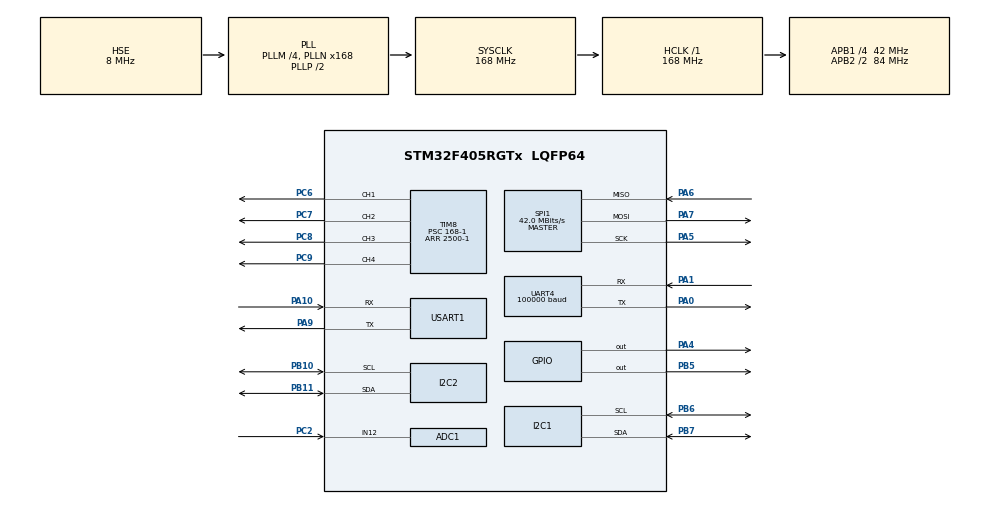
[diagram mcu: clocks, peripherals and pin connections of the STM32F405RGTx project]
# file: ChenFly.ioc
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ADC1.Channel-5\#ChannelRegularConversion=ADC_CHANNEL_12
ADC1.NbrOfConversionFlag=1
ADC1.Rank-5\#ChannelRegularConversion=1
ADC1.SamplingTime-5\#ChannelRegularConversion=ADC_SAMPLETIME_3CYCLES
ADC1.master=1
Dma.Request0=USART1_RX
Dma.Request1=USART1_TX
Dma.Request2=UART4_RX
Dma.Request3=UART4_TX
Dma.UART4_RX.2.Direction=DMA_PERIPH_TO_MEMORY
Dma.UART4_RX.2.FIFOMode=DMA_FIFOMODE_DISABLE
Dma.UART4_RX.2.Instance=DMA1_Stream2
Dma.UART4_RX.2.MemDataAlignment=DMA_MDATAALIGN_BYTE
Dma.UART4_RX.2.MemInc=DMA_MINC_ENABLE
Dma.UART4_RX.2.Mode=DMA_NORMAL
Dma.UART4_RX.2.PeriphDataAlignment=DMA_PDATAALIGN_BYTE
Dma.UART4_RX.2.PeriphInc=DMA_PINC_DISABLE
Dma.UART4_RX.2.Priority=DMA_PRIORITY_MEDIUM
Dma.UART4_TX.3.Direction=DMA_MEMORY_TO_PERIPH
Dma.UART4_TX.3.FIFOMode=DMA_FIFOMODE_DISABLE
Dma.UART4_TX.3.Instance=DMA1_Stream4
Dma.UART4_TX.3.MemDataAlignment=DMA_MDATAALIGN_BYTE
Dma.UART4_TX.3.MemInc=DMA_MINC_ENABLE
Dma.UART4_TX.3.Mode=DMA_NORMAL
Dma.UART4_TX.3.PeriphDataAlignment=DMA_PDATAALIGN_BYTE
Dma.UART4_TX.3.PeriphInc=DMA_PINC_DISABLE
Dma.UART4_TX.3.Priority=DMA_PRIORITY_MEDIUM
Dma.USART1_RX.0.Direction=DMA_PERIPH_TO_MEMORY
Dma.USART1_RX.0.FIFOMode=DMA_FIFOMODE_DISABLE
Dma.USART1_RX.0.Instance=DMA2_Stream2
Dma.USART1_RX.0.MemDataAlignment=DMA_MDATAALIGN_BYTE
Dma.USART1_RX.0.MemInc=DMA_MINC_ENABLE
Dma.USART1_RX.0.Mode=DMA_NORMAL
Dma.USART1_RX.0.PeriphDataAlignment=DMA_PDATAALIGN_BYTE
Dma.USART1_RX.0.PeriphInc=DMA_PINC_DISABLE
Dma.USART1_RX.0.Priority=DMA_PRIORITY_MEDIUM
Dma.USART1_TX.1.Direction=DMA_MEMORY_TO_PERIPH
Dma.USART1_TX.1.FIFOMode=DMA_FIFOMODE_DISABLE
Dma.USART1_TX.1.Instance=DMA2_Stream7
Dma.USART1_TX.1.MemDataAlignment=DMA_MDATAALIGN_BYTE
Dma.USART1_TX.1.MemInc=DMA_MINC_ENABLE
Dma.USART1_TX.1.Mode=DMA_NORMAL
Dma.USART1_TX.1.PeriphDataAlignment=DMA_PDATAALIGN_BYTE
Dma.USART1_TX.1.PeriphInc=DMA_PINC_DISABLE
Dma.USART1_TX.1.Priority=DMA_PRIORITY_MEDIUM
Mcu.Family=STM32F4
Mcu.Name=STM32F405RGTx
Mcu.Package=LQFP64
NVIC.DMA1_Stream2_IRQn=true\:0\:0\:false\:false\:true\:false\:true
NVIC.DMA1_Stream4_IRQn=true\:0\:0\:false\:false\:true\:false\:true
NVIC.DMA2_Stream2_IRQn=true\:0\:0\:false\:false\:true\:false\:true
NVIC.DMA2_Stream7_IRQn=true\:0\:0\:false\:false\:true\:false\:true
NVIC.PriorityGroup=NVIC_PRIORITYGROUP_4
NVIC.UART4_IRQn=true\:0\:0\:false\:false\:true\:true\:true
NVIC.USART1_IRQn=true\:0\:0\:false\:false\:true\:true\:true
PA0-WKUP.GPIO_PuPd=GPIO_NOPULL
PA0-WKUP.Mode=Asynchronous
PA0-WKUP.Signal=UART4_TX
PA1.GPIO_PuPd=GPIO_PULLUP
PA1.Mode=Asynchronous
PA1.Signal=UART4_RX
PA10.GPIO_PuPd=GPIO_NOPULL
PA10.Mode=Asynchronous
PA10.Signal=USART1_RX
PA13.Mode=Serial_Wire
PA13.Signal=SYS_JTMS-SWDIO
PA14.Mode=Serial_Wire
PA14.Signal=SYS_JTCK-SWCLK
PA4.GPIO_PuPd=GPIO_PULLUP
PA4.GPIO_Speed=GPIO_SPEED_FREQ_HIGH
PA4.PinState=GPIO_PIN_SET
PA4.Signal=GPIO_Output
PA5.Mode=Full_Duplex_Master
PA5.Signal=SPI1_SCK
PA6.GPIO_PuPd=GPIO_NOPULL
PA6.Mode=Full_Duplex_Master
PA6.Signal=SPI1_MISO
PA7.GPIO_PuPd=GPIO_NOPULL
PA7.Mode=Full_Duplex_Master
PA7.Signal=SPI1_MOSI
PA9.Mode=Asynchronous
PA9.Signal=USART1_TX
PB10.Mode=I2C
PB10.Signal=I2C2_SCL
PB11.Mode=I2C
PB11.Signal=I2C2_SDA
PB5.Signal=GPIO_Output
PB6.Mode=I2C
PB6.Signal=I2C1_SCL
PB7.Mode=I2C
PB7.Signal=I2C1_SDA
PC2.Signal=ADCx_IN12
PC6.Signal=S_TIM8_CH1
PC7.Signal=S_TIM8_CH2
PC8.Signal=S_TIM8_CH3
PC9.Signal=S_TIM8_CH4
PH0-OSC_IN.Mode=HSE-External-Oscillator
PH0-OSC_IN.Signal=RCC_OSC_IN
PH1-OSC_OUT.Mode=HSE-External-Oscillator
PH1-OSC_OUT.Signal=RCC_OSC_OUT
ProjectManager.HeapSize=0x200
ProjectManager.StackSize=0x400
ProjectManager.TargetToolchain=MDK-ARM V5.32
RCC.48MHZClocksFreq_Value=84000000
RCC.AHBFreq_Value=168000000
RCC.APB1CLKDivider=RCC_HCLK_DIV4
RCC.APB1Freq_Value=42000000
RCC.APB1TimFreq_Value=84000000
RCC.APB2CLKDivider=RCC_HCLK_DIV2
RCC.APB2Freq_Value=84000000
RCC.APB2TimFreq_Value=168000000
RCC.CortexFreq_Value=168000000
RCC.HCLKFreq_Value=168000000
RCC.HSE_VALUE=8000000
RCC.HSI_VALUE=16000000
RCC.LSE_VALUE=32768
RCC.PLLM=4
RCC.PLLN=168
RCC.PLLSourceVirtual=RCC_PLLSOURCE_HSE
RCC.SYSCLKFreq_VALUE=168000000
RCC.SYSCLKSource=RCC_SYSCLKSOURCE_PLLCLK
RCC.VCOOutputFreq_Value=336000000
SH.ADCx_IN12.0=ADC1_IN12,IN12
SH.S_TIM8_CH1.0=TIM8_CH1,PWM Generation1 CH1
SH.S_TIM8_CH2.0=TIM8_CH2,PWM Generation2 CH2
SH.S_TIM8_CH3.0=TIM8_CH3,PWM Generation3 CH3
SH.S_TIM8_CH4.0=TIM8_CH4,PWM Generation4 CH4
SPI1.CLKPhase=SPI_PHASE_2EDGE
SPI1.CLKPolarity=SPI_POLARITY_HIGH
SPI1.CalculateBaudRate=42.0 MBits/s
SPI1.Direction=SPI_DIRECTION_2LINES
SPI1.Mode=SPI_MODE_MASTER
SPI1.VirtualType=VM_MASTER
TIM8.Channel-PWM\ Generation1\ CH1=TIM_CHANNEL_1
TIM8.Channel-PWM\ Generation2\ CH2=TIM_CHANNEL_2
TIM8.Channel-PWM\ Generation3\ CH3=TIM_CHANNEL_3
TIM8.Channel-PWM\ Generation4\ CH4=TIM_CHANNEL_4
TIM8.Period=2500-1
TIM8.Prescaler=168-1
UART4.BaudRate=100000
UART4.Parity=PARITY_EVEN
UART4.StopBits=UART_STOPBITS_2
UART4.VirtualMode=Asynchronous
UART4.WordLength=WORDLENGTH_9B
USART1.VirtualMode=VM_ASYNC
VP_TIM8_VS_ClockSourceINT.Mode=Internal
board=custom

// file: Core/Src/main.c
/* USER CODE BEGIN Header */
/**
  ******************************************************************************
  * @file           : main.c
  * @brief          : Main program body
  ******************************************************************************
  * @attention
  *
  * Copyright (c) 2023 STMicroelectronics.
  * All rights reserved.
  *
  * This software is licensed under terms that can be found in the LICENSE file
  * in the root directory of this software component.
  * If no LICENSE file comes with this software, it is provided AS-IS.
  *
  ******************************************************************************
  */
/* USER CODE END Header */
#include "main.h"
#include "adc.h"
#include "dma.h"
#include "i2c.h"
#include "spi.h"
#include "tim.h"
#include "usart.h"
#include "gpio.h"

/* USER CODE BEGIN Includes */
#include "scheduler.h"
#include "motor.h"
#include "icm20602.h"
#include "flightcontrol.h"
#include "string.h"
/* USER CODE END Includes */

void SystemClock_Config(void);

/* USER CODE BEGIN 0 */
#define BUFF_SIZE1 128
uint8_t rx_data1[BUFF_SIZE1] = {0x00};
#define BUFF_SIZE4 128
uint8_t rx_data4[BUFF_SIZE4] = {0x00};

extern DMA_HandleTypeDef hdma_usart1_rx;

extern uint16_t motorA_speed;
extern uint16_t motorB_speed;
extern uint16_t motorC_speed;
extern uint16_t motorD_speed;
extern uint8_t sbus_original_data[25];

extern float roll_P, roll_I, roll_D;
extern float pitch_P, pitch_I, pitch_D;
extern float yaw_P, yaw_I, yaw_D;
uint8_t send_pid[23] = {0xFE, 0xEF, 0x17, 0x83, 0x00, 0x00, 0x00, 0x00, 0x00, 0x00, 0x00, 0x00, 0x00, 0x00, 0x00, 0x00, 0x00, 0x00, 0x00, 0x00, 0x00, 0x00, 0x00};
/* USER CODE END 0 */

int main(void)
{

  /* MCU Configuration--------------------------------------------------------*/

  /* Reset of all peripherals, Initializes the Flash interface and the Systick. */
  HAL_Init();

  /* Configure the system clock */
  SystemClock_Config();

  /* Initialize all configured peripherals */
  MX_GPIO_Init();
  MX_DMA_Init();
  MX_USART1_UART_Init();
  MX_ADC1_Init();
  MX_UART4_Init();
  MX_TIM8_Init();
  MX_SPI1_Init();
  MX_I2C1_Init();
  MX_I2C2_Init();
  /* USER CODE BEGIN 2 */
  HAL_UARTEx_ReceiveToIdle_DMA(&huart1, rx_data1, BUFF_SIZE1);
  HAL_UARTEx_ReceiveToIdle_DMA(&huart4, rx_data4, BUFF_SIZE4);
  Scheduler_init();
  motor_init();
  icm20602_init_spi();
  gyroOffsetInit();
  init_flightcontrol();
  /* USER CODE END 2 */

  /* Infinite loop */
  /* USER CODE BEGIN WHILE */
  while (1)
  {
	  Scheduler_run();
    /* USER CODE END WHILE */

  }
}

void SystemClock_Config(void)
{
  RCC_OscInitTypeDef RCC_OscInitStruct = {0};
  RCC_ClkInitTypeDef RCC_ClkInitStruct = {0};

  /** Configure the main internal regulator output voltage
  */
  __HAL_RCC_PWR_CLK_ENABLE();
  __HAL_PWR_VOLTAGESCALING_CONFIG(PWR_REGULATOR_VOLTAGE_SCALE1);
  /** Initializes the RCC Oscillators according to the specified parameters
  * in the RCC_OscInitTypeDef structure.
  */
  RCC_OscInitStruct.OscillatorType = RCC_OSCILLATORTYPE_HSE;
  RCC_OscInitStruct.HSEState = RCC_HSE_ON;
  RCC_OscInitStruct.PLL.PLLState = RCC_PLL_ON;
  RCC_OscInitStruct.PLL.PLLSource = RCC_PLLSOURCE_HSE;
  RCC_OscInitStruct.PLL.PLLM = 4;
  RCC_OscInitStruct.PLL.PLLN = 168;
  RCC_OscInitStruct.PLL.PLLP = RCC_PLLP_DIV2;
  RCC_OscInitStruct.PLL.PLLQ = 4;
  if (HAL_RCC_OscConfig(&RCC_OscInitStruct) != HAL_OK)
  {
    Error_Handler();
  }
  /** Initializes the CPU, AHB and APB buses clocks
  */
  RCC_ClkInitStruct.ClockType = RCC_CLOCKTYPE_HCLK|RCC_CLOCKTYPE_SYSCLK
                              |RCC_CLOCKTYPE_PCLK1|RCC_CLOCKTYPE_PCLK2;
  RCC_ClkInitStruct.SYSCLKSource = RCC_SYSCLKSOURCE_PLLCLK;
  RCC_ClkInitStruct.AHBCLKDivider = RCC_SYSCLK_DIV1;
  RCC_ClkInitStruct.APB1CLKDivider = RCC_HCLK_DIV4;
  RCC_ClkInitStruct.APB2CLKDivider = RCC_HCLK_DIV2;

  if (HAL_RCC_ClockConfig(&RCC_ClkInitStruct, FLASH_LATENCY_5) != HAL_OK)
  {
    Error_Handler();
  }
}

/* USER CODE BEGIN 4 */
void HAL_UARTEx_RxEventCallback(UART_HandleTypeDef * huart, uint16_t Size)
{
    if(huart->Instance == USART1)
    {
		HAL_UART_DMAStop(huart);
        if (Size <= BUFF_SIZE1)
        {
			if(rx_data1[0] == 0xFE && rx_data1[1] == 0xEF && rx_data1[3] == 0x01)
			{
				motorA_speed = 1000+10*rx_data1[4];
				motorB_speed = 1000+10*rx_data1[5];
				motorC_speed = 1000+10*rx_data1[6];
				motorD_speed = 1000+10*rx_data1[7];
			}
			else if(rx_data1[0] == 0xFE && rx_data1[1] == 0xEF && rx_data1[3] == 0x02)
			{
				uint16_t temp;
				temp = (uint16_t)(roll_P*1000.0f);
				memcpy(send_pid+4, &temp, 2);
				temp = (uint16_t)(roll_I*1000.0f);
				memcpy(send_pid+6, &temp, 2);
				temp = (uint16_t)(roll_D*1000.0f);
				memcpy(send_pid+8, &temp, 2);
				temp = (uint16_t)(pitch_P*1000.0f);
				memcpy(send_pid+10, &temp, 2);
				temp = (uint16_t)(pitch_I*1000.0f);
				memcpy(send_pid+12, &temp, 2);
				temp = (uint16_t)(pitch_D*1000.0f);
				memcpy(send_pid+14, &temp, 2);
				temp = (uint16_t)(yaw_P*1000.0f);
				memcpy(send_pid+16, &temp, 2);
				temp = (uint16_t)(yaw_I*1000.0f);
				memcpy(send_pid+18, &temp, 2);
				temp = (uint16_t)(yaw_D*1000.0f);
				memcpy(send_pid+20, &temp, 2);
				HAL_UART_Transmit_DMA(&huart1, send_pid, 23);
			}
			else if(rx_data1[0] == 0xFE && rx_data1[1] == 0xEF && rx_data1[3] == 0x03)
			{
				uint16_t temp;
				memcpy(&temp, rx_data1+4, 2);
				roll_P = ((float)temp)/1000.0f;
				memcpy(&temp, rx_data1+6, 2);
				roll_I = ((float)temp)/1000.0f;
				memcpy(&temp, rx_data1+8, 2);
				roll_D = ((float)temp)/1000.0f;
				memcpy(&temp, rx_data1+10, 2);
				pitch_P = ((float)temp)/1000.0f;
				memcpy(&temp, rx_data1+12, 2);
				pitch_I = ((float)temp)/1000.0f;
				memcpy(&temp, rx_data1+14, 2);
				pitch_D = ((float)temp)/1000.0f;
				memcpy(&temp, rx_data1+16, 2);
				yaw_P = ((float)temp)/1000.0f;
				memcpy(&temp, rx_data1+18, 2);
				yaw_I = ((float)temp)/1000.0f;
				memcpy(&temp, rx_data1+20, 2);
				yaw_D = ((float)temp)/1000.0f;
			}
			else
			{

			}
        }
		HAL_UARTEx_ReceiveToIdle_DMA(&huart1, rx_data1, BUFF_SIZE1);
    }
	else if (huart->Instance == UART4)
	{
		HAL_UART_DMAStop(huart);
        if (Size == 25 && rx_data4[0] == 0x0F)
        {
			for(int i = 0; i < 25; i++)
			{
				sbus_original_data[i] = rx_data4[i];
			}
        }
		HAL_UARTEx_ReceiveToIdle_DMA(&huart4, rx_data4, BUFF_SIZE4);
	}
	else
	{

	}
}
/* USER CODE END 4 */

void Error_Handler(void)
{
  __disable_irq();
  while (1)
  {
  }
}
